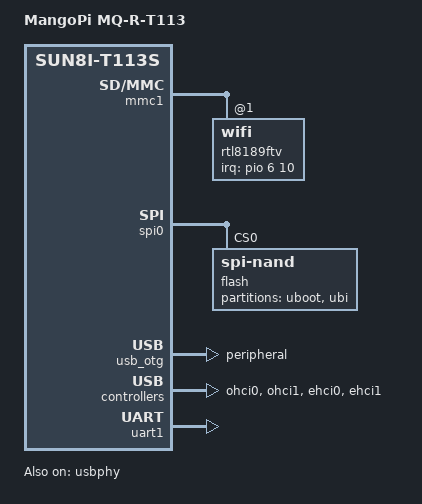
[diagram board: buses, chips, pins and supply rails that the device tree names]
// SPDX-License-Identifier: (GPL-2.0+ OR MIT)
// Copyright (C) 2022 Arm Ltd.

#include <dt-bindings/interrupt-controller/irq.h>

/dts-v1/;

#include "sun8i-t113s.dtsi"
#include "sunxi-d1s-t113-mangopi-mq-r.dtsi"

/ {
	model = "MangoPi MQ-R-T113";
	compatible = "widora,mangopi-mq-r-t113", "allwinner,sun8i-t113s";

	aliases {
		ethernet0 = &rtl8189ftv;
		serial1 = &uart1;
	};

	chosen {
		stdout-path = "serial1:115200n8";
	};
};

&cpu0 {
	cpu-supply = <&reg_vcc_core>;
};

&cpu1 {
	cpu-supply = <&reg_vcc_core>;
};

&mmc1 {
	rtl8189ftv: wifi@1 {
		reg = <1>;
		interrupt-parent = <&pio>;
		interrupts = <6 10 IRQ_TYPE_LEVEL_LOW>; /* PG10 = WL_WAKE_AP */
		interrupt-names = "host-wake";
	};
};

&spi0 {
	pinctrl-0 = <&spi0_pins>;
	pinctrl-names = "default";
	status = "okay";

	flash@0 {
		compatible = "spi-nand";
		reg = <0>;

		partitions {
			compatible = "fixed-partitions";
			#address-cells = <1>;
			#size-cells = <1>;

			partition@0 {
				label = "uboot";
				reg = <0x00000000 0x00080000>;
			};

			partition@80000 {
				label = "ubi";
				reg = <0x00080000 0x0fb00000>;
			};
		};
	};
};

&usb_otg {
	status = "okay";
	dr_mode = "peripheral";
};

&usbphy {
	usb1_vbus-supply = <&reg_vcc5v>;
	status = "okay";
};

&ohci0 {
	status = "okay";
};

&ohci1 {
	status = "okay";
};

&ehci0 {
	status = "okay";
};

&ehci1 {
	status = "okay";
};

&uart1 {
	pinctrl-names = "default";
	pinctrl-0 = <&uart1_pg6_pins>;
	status = "okay";
};
